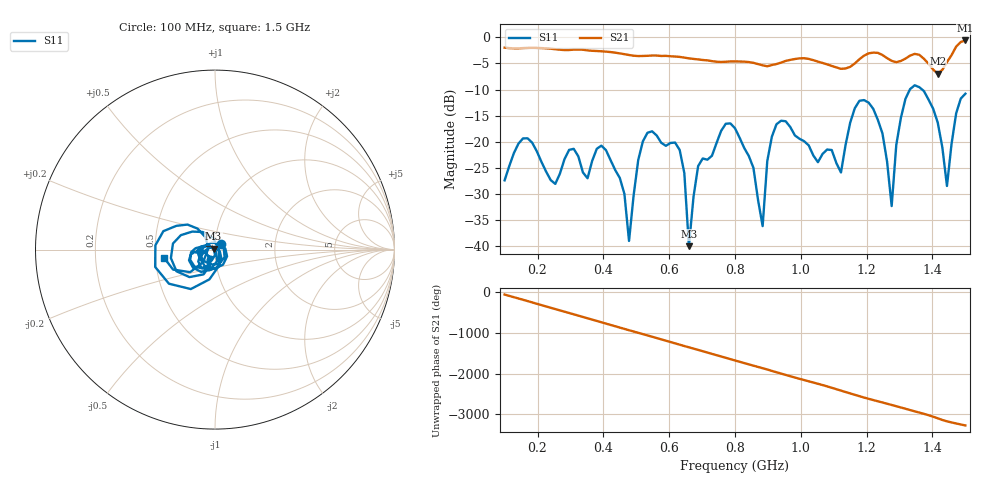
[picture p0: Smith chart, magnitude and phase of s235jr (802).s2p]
! NanoVNA-App
! Date: 2025-09-25 15:10:25
! Start: 100MHz Stop: 1,5GHz Points: 101
! S-Parameter data: F S11 S21 S12 S22
# Hz S RI R 50
!  Frequency  S11_Real  S11_Imag  S21_Real  S21_Imag  S12_Real  S12_Imag  S22_Real  S22_Imag
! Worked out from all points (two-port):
!   101 points, 100 MHz to 1.5 GHz, reference 50 ohm
!   highest |S21| = -0.57 dB at 1.5 GHz (marker M1); lowest = -7.0 dB at 1.416 GHz (marker M2)
!   |S21| within 3 dB of the highest: start of sweep to 505.9 MHz; 506.3 MHz to 597 MHz (90.67 MHz wide, 16.4 % of centre) (the widest 2 of 5)
!   lowest |S11| = -40.1 dB at 660 MHz (marker M3), VSWR 1.02, Z = 49.2 + j0.549 ohm
!   |S11| at or under -10 dB: start of sweep to 1.331 GHz; 1.368 GHz to end of sweep
!   S12 and S22 are empty: the file has one direction only
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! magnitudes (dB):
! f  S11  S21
! 100 MHz  -27.5  -2.0
! 156 MHz  -19.4  -2.0
! 338 MHz  -26.0  -2.4
! 408 MHz  -21.7  -2.7
! 478 MHz  -39.1  -3.4
! 520 MHz  -20.0  -3.6
! 576 MHz  -20.2  -3.6
! 632 MHz  -21.6  -3.7
! 660 MHz  -40.1  -4.0
! 688 MHz  -24.7  -4.2
! 800 MHz  -17.4  -4.6
! 884 MHz  -36.3  -5.4
! 926 MHz  -16.7  -5.1
! 1.038 GHz  -22.7  -4.4
! 1.122 GHz  -25.9  -6.0
! 1.206 GHz  -12.5  -3.0
! 1.276 GHz  -32.4  -4.5
! 1.29 GHz  -20.7  -4.8
! 1.332 GHz  -9.9  -3.5
! 1.416 GHz  -16.4  -7.0
! 1.444 GHz  -28.5  -4.7
! 1.5 GHz  -10.8  -0.6
